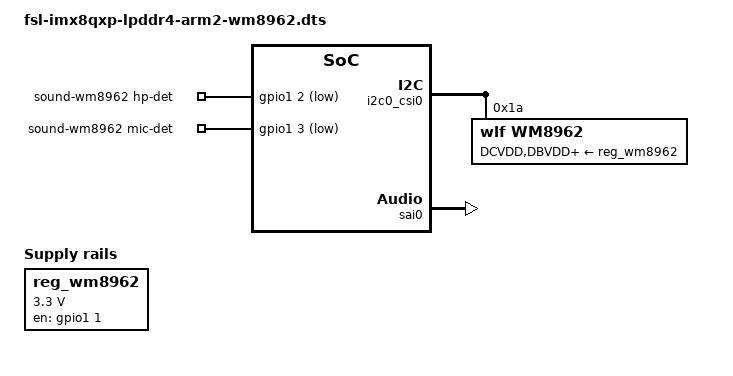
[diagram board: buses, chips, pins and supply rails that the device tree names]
/*
 * Copyright 2017 NXP
 *
 * This program is free software; you can redistribute it and/or
 * modify it under the terms of the GNU General Public License
 * as published by the Free Software Foundation; either version 2
 * of the License, or (at your option) any later version.
 *
 * This program is distributed in the hope that it will be useful,
 * but WITHOUT ANY WARRANTY; without even the implied warranty of
 * MERCHANTABILITY or FITNESS FOR A PARTICULAR PURPOSE.  See the
 * GNU General Public License for more details.
 */

#include "fsl-imx8qxp-lpddr4-arm2.dts"

/ {
	regulators {
		reg_wm8962: regulator-wm8962 {
			compatible = "regulator-fixed";
			regulator-name = "wm8962-supply";
			regulator-min-microvolt = <3300000>;
			regulator-max-microvolt = <3300000>;
			gpio = <&gpio1 1 GPIO_ACTIVE_HIGH>;
			regulator-always-on;
			enable-active-high;
		};
	};

	sound-cs42888 {
		status = "disabled";
	};

	sound-wm8962 {
		compatible = "fsl,imx6q-sabresd-wm8962",
			   "fsl,imx-audio-wm8962";
		model = "wm8962-audio";
		cpu-dai = <&sai0>;
		audio-codec = <&wm8962>;
		audio-routing =
			"Headphone Jack", "HPOUTL",
			"Headphone Jack", "HPOUTR",
			"Ext Spk", "SPKOUTL",
			"Ext Spk", "SPKOUTR",
			"AMIC", "MICBIAS",
			"IN3R", "AMIC",
			"DMIC", "MICBIAS",
			"DMICDAT", "DMIC",
			"Playback", "CPU-Playback",
			"CPU-Capture", "Capture";
		codec-master;
		hp-det-gpios = <&gpio1 2 1>;
		mic-det-gpios = <&gpio1 3 1>;
	};
};

&esai0 {
	status = "disabled";
};

&iomuxc {
	imx8qxp-lpddr4-arm2 {
		pinctrl_sai0: sai0grp {
			fsl,pins = <
				SC_P_SAI0_TXFS_ADMA_SAI0_TXFS		0xc600004c
				SC_P_SAI0_TXC_ADMA_SAI0_TXC		0xc600004c
				SC_P_SAI0_TXD_ADMA_SAI0_TXD		0xc600004c
				SC_P_SAI0_RXD_ADMA_SAI0_RXD		0xc600004c
				SC_P_SPI2_SDO_LSIO_GPIO1_IO01		0xc600004c
				SC_P_SPI2_SDI_LSIO_GPIO1_IO02		0xc600004c
				SC_P_SPI2_SCK_LSIO_GPIO1_IO03		0xc600004c
				SC_P_MCLK_OUT0_ADMA_ACM_MCLK_OUT0	0xc600004c
			>;
		};
	};
};

&i2c0_csi0 {

	wm8962: wm8962@1a {
		compatible = "wlf,wm8962";
		reg = <0x1a>;
		clocks = <&clk IMX8QXP_AUD_MCLKOUT0>;
		DCVDD-supply = <&reg_wm8962>;
		DBVDD-supply = <&reg_wm8962>;
		AVDD-supply = <&reg_wm8962>;
		CPVDD-supply = <&reg_wm8962>;
		MICVDD-supply = <&reg_wm8962>;
		PLLVDD-supply = <&reg_wm8962>;
		SPKVDD1-supply = <&reg_wm8962>;
		SPKVDD2-supply = <&reg_wm8962>;
		gpio-cfg = <
			0x0000 /* 0:Default */
			0x0000 /* 1:Default */
			0x0013 /* 2:FN_DMICCLK */
			0x0000 /* 3:Default */
			0x8014 /* 4:FN_DMICCDAT */
			0x0000 /* 5:Default */
		>;
		amic-mono;
	};
};

&sai0 {
	pinctrl-names = "default";
	pinctrl-0 = <&pinctrl_sai0>;
	status = "okay";
};
